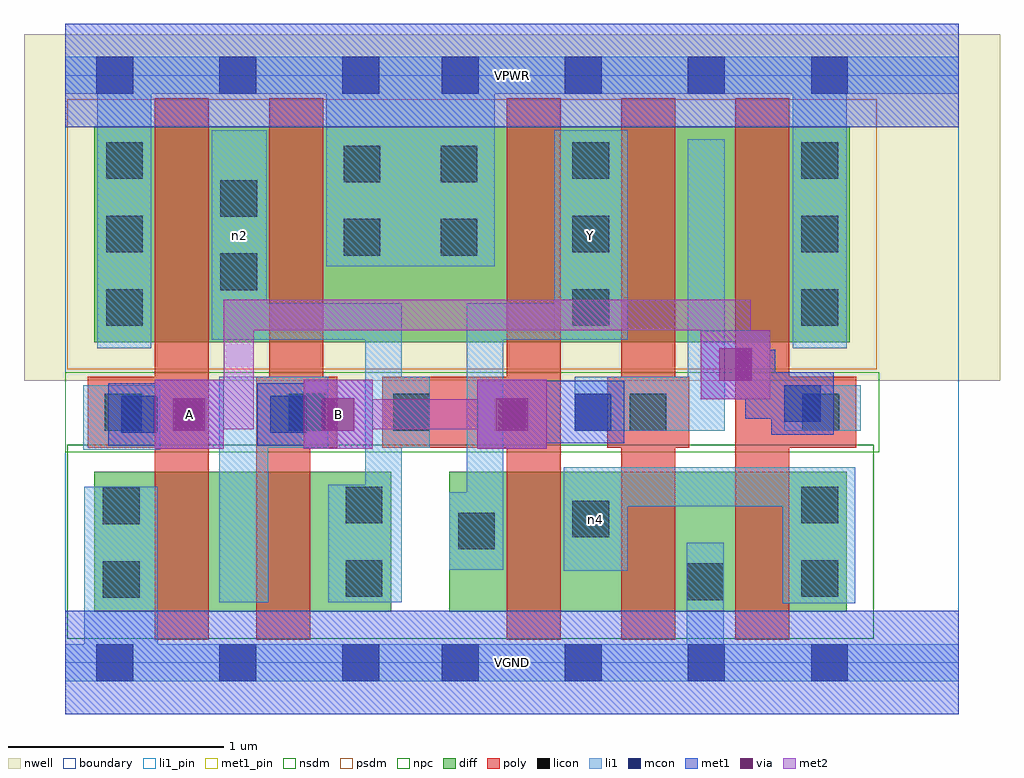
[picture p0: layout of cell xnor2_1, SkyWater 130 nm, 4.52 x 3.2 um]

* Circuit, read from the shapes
.subckt xnor2_1 A B VGND VPWR Y n2 n4
XM1 n1 A VGND VSUBS sky130_fd_pr__nfet_01v8 w=0.65 l=0.25
XM2 n2 B n1 VSUBS sky130_fd_pr__nfet_01v8 w=0.65 l=0.25
XM3 n4 n2 Y VSUBS sky130_fd_pr__nfet_01v8 w=0.65 l=0.25
XM4 VGND B n4 VSUBS sky130_fd_pr__nfet_01v8 w=0.65 l=0.25
XM5 n4 A VGND VSUBS sky130_fd_pr__nfet_01v8 w=0.65 l=0.25
XM6 n2 A VPWR n3 sky130_fd_pr__pfet_01v8 w=1 l=0.25
XM7 VPWR B n2 n3 sky130_fd_pr__pfet_01v8 w=1 l=0.25
XM8 Y n2 VPWR n3 sky130_fd_pr__pfet_01v8 w=1 l=0.25
XM9 n5 B Y n3 sky130_fd_pr__pfet_01v8 w=1 l=0.25
XM10 VPWR A n5 n3 sky130_fd_pr__pfet_01v8 w=1 l=0.25
.ends

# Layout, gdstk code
import gdstk
lib = gdstk.Library(unit=1e-6, precision=1e-09)
def R(c, l, rs):  # rectangles x0, y0, x1, y1
    for r in rs: c.add(gdstk.rectangle(r[:2], r[2:], *l))
def A(c, l, x, y, w, h, nx, ny, dx, dy):  # array of equal rectangles
    R(c, l, [(x+i*dx, y+j*dy, x+i*dx+w, y+j*dy+h) for i in range(nx) for j in range(ny)])
nwell = (64, 20)
diff = (65, 20)
poly = (66, 20)
licon = (66, 44)
li1_pin = (67, 16)
li1 = (67, 20)
mcon = (67, 44)
met1_pin = (68, 16)
met1 = (68, 20)
via = (68, 44)
met2 = (69, 20)
nsdm = (93, 44)
psdm = (94, 20)
npc = (95, 20)
boundary = (235, 4)

xnor2_1 = lib.new_cell('xnor2_1')
R(xnor2_1, nwell, [(-0.19,1.305,4.33,2.91), (0,1.305,4.14,2.91)])
R(xnor2_1, diff, [(0.135,0.235,1.51,0.885), (1.78,0.235,3.62,0.885), (0.135,1.485,3.635,2.485)])
A(xnor2_1, poly, 2.045, 0.105, 0.25, 2.51, 3, 1, 0.53, 0)
R(xnor2_1, poly, [(0.415,0.105,0.665,2.615), (0.885,0.105,1.135,1.325), (0.105,0.995,0.665,1.325), (0.885,0.995,1.26,1.325), (0.945,0.995,1.195,2.615), (1.47,0.995,2.295,1.325), (2.51,0.995,2.89,1.325), (3.105,0.995,3.665,1.325)])
A(xnor2_1, licon, 0.19, 1.56, 0.17, 0.17, 1, 3, 0, 0.34)
A(xnor2_1, licon, 2.35, 1.56, 0.17, 0.17, 1, 3, 0, 0.34)
A(xnor2_1, licon, 3.41, 1.56, 0.17, 0.17, 1, 3, 0, 0.34)
R(xnor2_1, licon, [(2.88,0.29,3.05,0.46), (0.175,0.3,0.345,0.47), (1.3,0.305,1.47,0.475), (3.41,0.305,3.58,0.475), (1.82,0.525,1.99,0.695), (2.35,0.58,2.52,0.75), (0.175,0.64,0.345,0.81), (1.3,0.645,1.47,0.815), (3.41,0.645,3.58,0.815), (0.185,1.075,0.355,1.245), (1.035,1.075,1.205,1.245), (1.52,1.075,1.69,1.245), (2.615,1.075,2.785,1.245), (3.415,1.075,3.585,1.245), (0.72,1.725,0.89,1.895), (1.29,1.885,1.46,2.055), (1.74,1.885,1.91,2.055), (0.72,2.065,0.89,2.235), (1.29,2.225,1.46,2.395), (1.74,2.225,1.91,2.395)])
R(xnor2_1, li1_pin, [(2.265,1.495,2.605,2.465)])
R(xnor2_1, li1, [(0,-0.085,4.14,0.085), (0.09,-0.085,0.43,0.815), (2.88,-0.085,3.05,0.555), (3.325,0.275,3.66,0.905), (0.715,0.28,0.94,1.325), (1.22,0.28,1.56,0.825), (1.39,0.28,1.56,1.665), (2.31,0.425,2.605,0.905), (1.78,0.43,2.03,0.79), (1.86,0.43,2.03,1.665), (2.31,0.725,3.66,0.905), (0.085,0.985,0.44,1.285), (0.715,0.995,1.22,1.325), (1.39,0.995,1.69,1.325), (2.36,1.075,3.055,1.325), (2.885,1.075,3.055,2.425), (3.33,1.075,3.685,1.285), (0.15,1.455,0.4,2.805), (3.37,1.455,3.62,2.805), (0.68,1.495,0.935,2.465), (0.68,1.495,1.56,1.665), (1.86,1.495,2.605,1.665), (2.265,1.495,2.605,2.465), (1.21,1.835,1.99,2.805), (0,2.635,4.14,2.805)])
A(xnor2_1, mcon, 0.145, -0.085, 0.17, 0.17, 3, 2, 0.57, 2.72)
A(xnor2_1, mcon, 1.745, -0.085, 0.17, 0.17, 4, 2, 0.57, 2.72)
R(xnor2_1, mcon, [(0.26,1.065,0.43,1.235), (0.95,1.065,1.12,1.235), (2.36,1.075,2.53,1.245), (3.33,1.115,3.5,1.285)])
R(xnor2_1, met1_pin, [(0,-0.24,4.14,0.24), (0.415,0.99,0.735,1.31), (1.105,0.99,1.425,1.31), (0,2.48,4.14,2.96)])
R(xnor2_1, met1, [(0,-0.24,4.14,0.24), (0.415,0.99,0.735,1.31), (1.105,0.99,1.425,1.31), (1.91,0.99,2.23,1.31), (0.2,1.005,0.49,1.295), (0.89,1.005,1.18,1.295), (2.23,1.015,2.3,1.305), (2.3,1.015,2.59,1.305), (3.27,1.055,3.56,1.345), (0.275,1.08,0.645,1.22), (0.965,1.08,1.335,1.22), (2,1.08,2.37,1.22), (2.23,1.08,2.37,1.23), (2.23,1.09,2.515,1.23), (3.15,1.13,3.485,1.27), (3.15,1.13,3.29,1.45), (2.945,1.22,3.265,1.54), (3.035,1.31,3.29,1.45), (0,2.48,4.14,2.96)])
R(xnor2_1, via, [(0.5,1.075,0.65,1.225), (1.19,1.075,1.34,1.225), (1.995,1.075,2.145,1.225), (3.03,1.305,3.18,1.455)])
R(xnor2_1, met2, [(0.415,0.99,0.735,1.31), (1.105,0.99,1.425,1.31), (1.91,0.99,2.23,1.31), (0.505,1.08,0.875,1.22), (0.735,1.08,0.875,1.68), (1.195,1.08,2.14,1.22), (2.945,1.22,3.265,1.54), (3.035,1.31,3.175,1.68), (0.735,1.54,3.175,1.68)])
R(xnor2_1, nsdm, [(0.01,0.11,3.745,1.01)])
R(xnor2_1, psdm, [(0.01,1.36,3.76,2.61)])
R(xnor2_1, npc, [(0,0.975,3.77,1.345)])
R(xnor2_1, boundary, [(0,0,4.14,2.72)])
xnor2_1.add(gdstk.Label('Y', (2.435,1.98), layer=67, texttype=5))
xnor2_1.add(gdstk.Label('n4', (2.457,0.665), layer=67, texttype=5))
xnor2_1.add(gdstk.Label('n2', (0.807,1.98), layer=67, texttype=5))
xnor2_1.add(gdstk.Label('B', (1.265,1.15), layer=68, texttype=5))
xnor2_1.add(gdstk.Label('A', (0.575,1.15), layer=68, texttype=5))
xnor2_1.add(gdstk.Label('VPWR', (2.07,2.72), layer=68, texttype=5))
xnor2_1.add(gdstk.Label('VGND', (2.07,0), layer=68, texttype=5))
xnor2_1.add(gdstk.Label('Y', (2.435,1.98), layer=67, texttype=16))
xnor2_1.add(gdstk.Label('B', (1.265,1.15), layer=68, texttype=16))
xnor2_1.add(gdstk.Label('A', (0.575,1.15), layer=68, texttype=16))
xnor2_1.add(gdstk.Label('VPWR', (2.07,2.72), layer=68, texttype=16))
xnor2_1.add(gdstk.Label('VGND', (2.07,0), layer=68, texttype=16))

lib.write_gds('xnor2_1.gds')
